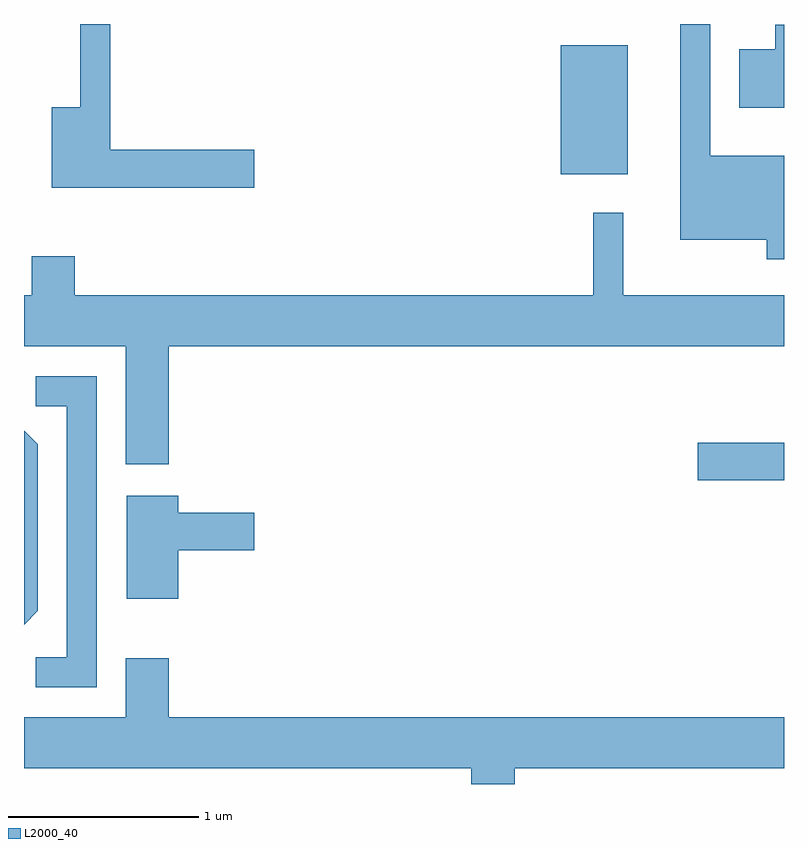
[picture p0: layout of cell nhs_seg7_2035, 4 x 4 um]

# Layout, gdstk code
import gdstk
lib = gdstk.Library(unit=1e-6, precision=1e-09)
def R(c, l, rs):  # rectangles x0, y0, x1, y1
    for r in rs: c.add(gdstk.rectangle(r[:2], r[2:], *l))
def P(c, l, *ps):  # polygons
    for p in ps: c.add(gdstk.Polygon(p, *l))
L2000_40 = (2000, 40)

nhs_seg7_2035 = lib.new_cell('nhs_seg7_2035')
R(nhs_seg7_2035, L2000_40, [(251.156,1695.851,251.611,1696.049), (250.436,1697.461,250.789,1698.139)])
P(nhs_seg7_2035, L2000_40, [(248.824,1697.589),(248.064,1697.589),(248.064,1698.252),(247.906,1698.252),(247.906,1697.814),(247.756,1697.814),(247.756,1697.391),(248.824,1697.391)],
  [(251.611,1697.559),(251.224,1697.559),(251.224,1698.252),(251.066,1698.252),(251.066,1697.116),(251.521,1697.116),(251.521,1697.013),(251.611,1697.013)],
  [(251.611,1698.249),(251.566,1698.249),(251.566,1698.119),(251.376,1698.119),(251.376,1697.811),(251.611,1697.811)],
  [(248.374,1696.556),(251.611,1696.556),(251.611,1696.824),(250.764,1696.824),(250.764,1697.258),(250.606,1697.258),(250.606,1696.824),(247.879,1696.824),(247.879,1697.029),(247.651,1697.029),(247.651,1696.824),(247.611,1696.824),(247.611,1696.556),(248.146,1696.556),(248.146,1695.936),(248.374,1695.936)],
  [(247.994,1696.399),(247.673,1696.399),(247.673,1696.241),(247.836,1696.241),(247.836,1694.919),(247.673,1694.919),(247.673,1694.761),(247.994,1694.761)],
  [(247.684,1695.164),(247.684,1696.039),(247.611,1696.112),(247.611,1695.091)],
  [(248.424,1695.481),(248.824,1695.481),(248.824,1695.679),(248.424,1695.679),(248.424,1695.769),(248.151,1695.769),(248.151,1695.226),(248.424,1695.226)],
  [(248.374,1694.914),(248.146,1694.914),(248.146,1694.604),(247.611,1694.604),(247.611,1694.336),(249.966,1694.336),(249.966,1694.252),(250.194,1694.252),(250.194,1694.336),(251.611,1694.336),(251.611,1694.604),(248.374,1694.604)])

lib.write_gds('nhs_seg7_2035.gds')
